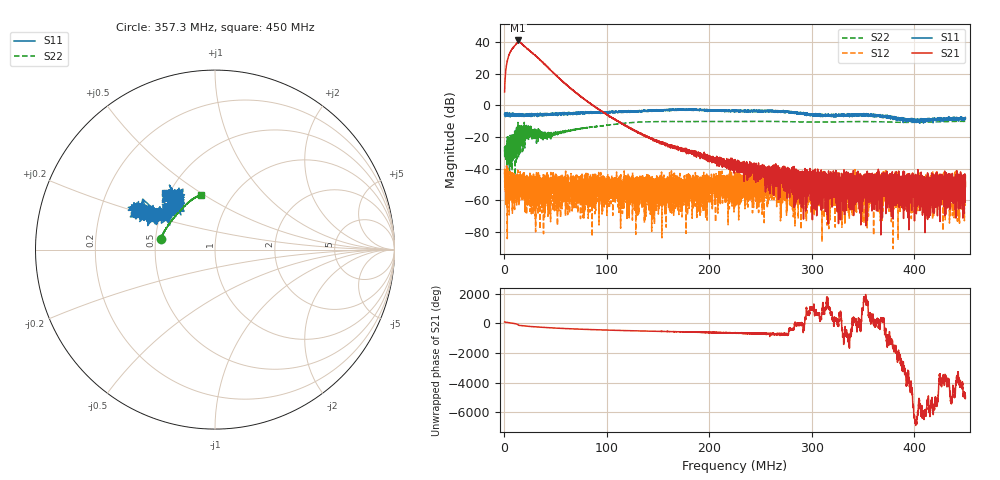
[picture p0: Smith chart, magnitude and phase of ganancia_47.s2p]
# Hz S DB R 50
! CMT, M5065, 19127446, 24.2.4/2
! Date: 12/3/2024 4:20:16 PM
! Data: Format (Calibration Info)
! Freq	S11:dB/Ang(F2)	S21:dB/Ang(F2)	S12:dB/Ang(F2)	S22:dB/Ang(F2)
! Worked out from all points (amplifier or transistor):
!   9000 points, 300 kHz to 450 MHz, reference 50 ohm
!   highest |S21| = 41.0 dB at 13.49 MHz (marker M1)
!   |S21| within 3 dB of that: 10.61 MHz to 18.47 MHz (7.861 MHz wide, 54.1 % of centre)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
!   unconditionally stable (mu >= 1): start of sweep to 12.59 MHz; 17.04 MHz to 18.34 MHz; 18.61 MHz to end of sweep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
!   at 75.26 MHz: K = 28.80, MAG = 7.1 dB, |S12| = -44.3 dB
!   at 225.2 MHz: K = 2582.75, MAG = -31.4 dB, |S12| = -45.6 dB
!   at 450 MHz: K = 22567.23, MAG = -50.2 dB, |S12| = -44.1 dB
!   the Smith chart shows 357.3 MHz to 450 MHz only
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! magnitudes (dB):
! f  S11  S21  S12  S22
! 300 kHz  -5.7  8.5  -43.5  -29.1
! 2.899 MHz  -4.5  27.8  -84.2  -30.6
! 4.648 MHz  -7.1  32.1  -45.7  -21.2
! 13.49 MHz  -6.2  41.0  -50.8  -20.0
! 22.49 MHz  -6.0  35.7  -52.5  -17.4
! 39.08 MHz  -6.0  26.2  -56.2  -18.4
! 75.26 MHz  -4.8  5.2  -44.3  -14.6
! 108.5 MHz  -4.3  -9.1  -46.2  -11.9
! 115.3 MHz  -4.0  -11.7  -48.4  -11.4
! 150.2 MHz  -3.0  -23.1  -59.7  -10.3
! 181 MHz  -2.8  -29.2  -48.9  -10.3
! 189.8 MHz  -2.9  -29.8  -47.8  -10.2
! 202.8 MHz  -3.2  -33.4  -47.7  -10.2
! 225.2 MHz  -3.8  -34.2  -45.6  -10.2
! 260.7 MHz  -3.5  -45.8  -51.3  -10.2
! 300.1 MHz  -5.4  -50.4  -51.9  -10.6
! 322.6 MHz  -6.7  -44.2  -59.4  -10.5
! 326.9 MHz  -6.3  -61.1  -49.7  -10.4
! 334.5 MHz  -6.2  -44.6  -54.2  -10.3
! 375.1 MHz  -8.2  -50.2  -58.3  -10.5
! 444.4 MHz  -8.2  -52.4  -64.6  -10.1
! 450 MHz  -8.3  -51.3  -44.1  -10.1
